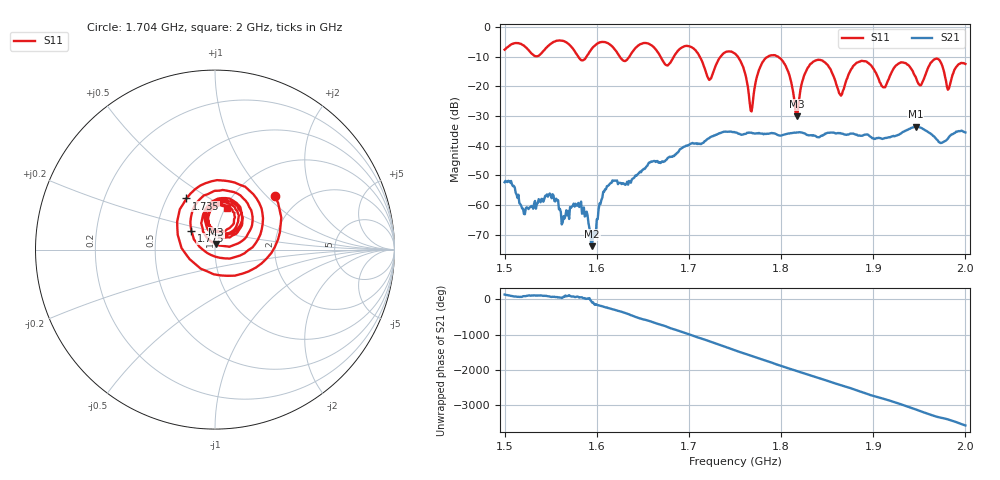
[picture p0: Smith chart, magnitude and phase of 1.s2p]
! NanoVNA-App by SYSJOINT et al v1.1.209 (+OD18)
! Date: 2026-01-21 14:47:28
! Start: 1,5GHz Stop: 2GHz Points: 501
! S-Parameter data: F S11 S21 S12 S22
# Hz S RI R 50
!  Frequency  S11_Real  S11_Imag  S21_Real  S21_Imag  S12_Real  S12_Imag  S22_Real  S22_Imag
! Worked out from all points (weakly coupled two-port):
!   501 points, 1.5 GHz to 2 GHz, reference 50 ohm
!   highest |S21| = -33.54 dB at 1.946 GHz (marker M1); lowest = -73.9 dB at 1.595 GHz (marker M2)
!   lowest |S11| = -30.0 dB at 1.817 GHz (marker M3), VSWR 1.07, Z = 50.6 + j3.11 ohm
!   |S11| at or under -10 dB: 1.712 GHz to 1.734 GHz (22.42 MHz wide, 1.3 % of centre); 1.753 GHz to 1.786 GHz (32.45 MHz wide, 1.83 % of centre); 1.797 GHz to end of sweep (the widest 3 of 6)
!   S12 and S22 are empty: the file has one direction only
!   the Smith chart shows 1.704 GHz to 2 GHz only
!   S11 on the Smith chart (normalised r, x): 1.704 GHz: 1.51, +1.12; 1.735 GHz: 0.63, +0.40; 1.775 GHz: 0.75, +0.16; 2 GHz: 1.02, +0.50
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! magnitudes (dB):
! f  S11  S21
! 1.5 GHz  -7.6  -52.3
! 1.521 GHz  -6.2  -63.0
! 1.584 GHz  -11.2  -62.9
! 1.595 GHz  -7.1  -73.9
! 1.613 GHz  -5.6  -53.3
! 1.667 GHz  -8.8  -45.7
! 1.704 GHz  -7.0  -39.1
! 1.722 GHz  -17.8  -37.4
! 1.735 GHz  -9.7  -35.6
! 1.75 GHz  -8.9  -35.5
! 1.767 GHz  -28.2  -35.6
! 1.775 GHz  -15.5  -35.9
! 1.799 GHz  -10.5  -36.6
! 1.817 GHz  -30.0  -35.5
! 1.834 GHz  -11.9  -36.6
! 1.865 GHz  -23.1  -35.9
! 1.886 GHz  -11.6  -36.7
! 1.917 GHz  -17.4  -37.1
! 1.946 GHz  -16.8  -33.5
! 1.97 GHz  -10.7  -38.2
! 1.982 GHz  -20.8  -37.1
! 2 GHz  -12.4  -35.5
